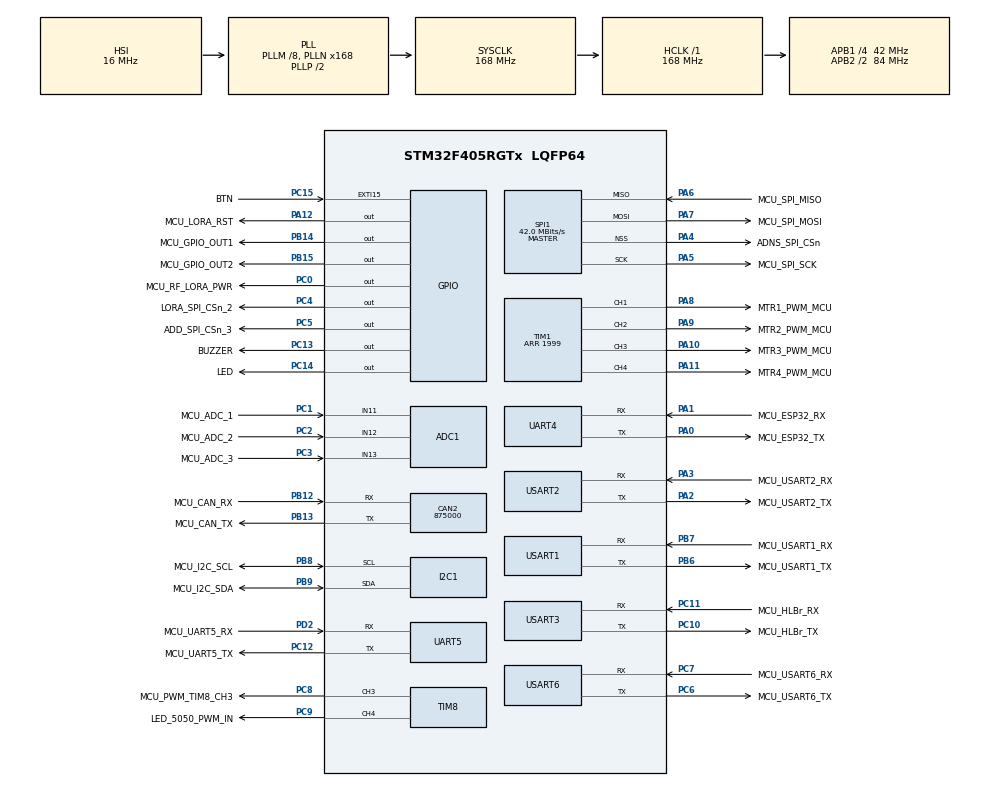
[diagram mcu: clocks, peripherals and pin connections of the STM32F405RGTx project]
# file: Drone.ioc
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ADC1.Channel-0\#ChannelRegularConversion=ADC_CHANNEL_11
ADC1.NbrOfConversionFlag=1
ADC1.Rank-0\#ChannelRegularConversion=1
ADC1.SamplingTime-0\#ChannelRegularConversion=ADC_SAMPLETIME_3CYCLES
ADC1.master=1
CAN2.CalculateBaudRate=875000
CAN2.CalculateTimeBit=1142
CAN2.CalculateTimeQuantum=380.95238095238096
Dma.Request0=UART5_RX
Dma.Request1=UART5_TX
Dma.Request10=USART6_RX
Dma.Request11=USART6_TX
Dma.Request2=USART2_RX
Dma.Request3=USART2_TX
Dma.Request4=USART3_RX
Dma.Request5=USART3_TX
Dma.Request6=UART4_RX
Dma.Request7=UART4_TX
Dma.Request8=USART1_RX
Dma.Request9=USART1_TX
Dma.UART4_RX.6.Direction=DMA_PERIPH_TO_MEMORY
Dma.UART4_RX.6.FIFOMode=DMA_FIFOMODE_DISABLE
Dma.UART4_RX.6.Instance=DMA1_Stream2
Dma.UART4_RX.6.MemDataAlignment=DMA_MDATAALIGN_BYTE
Dma.UART4_RX.6.MemInc=DMA_MINC_ENABLE
Dma.UART4_RX.6.Mode=DMA_NORMAL
Dma.UART4_RX.6.PeriphDataAlignment=DMA_PDATAALIGN_BYTE
Dma.UART4_RX.6.PeriphInc=DMA_PINC_DISABLE
Dma.UART4_RX.6.Priority=DMA_PRIORITY_LOW
Dma.UART4_TX.7.Direction=DMA_MEMORY_TO_PERIPH
Dma.UART4_TX.7.FIFOMode=DMA_FIFOMODE_DISABLE
Dma.UART4_TX.7.Instance=DMA1_Stream4
Dma.UART4_TX.7.MemDataAlignment=DMA_MDATAALIGN_BYTE
Dma.UART4_TX.7.MemInc=DMA_MINC_ENABLE
Dma.UART4_TX.7.Mode=DMA_NORMAL
Dma.UART4_TX.7.PeriphDataAlignment=DMA_PDATAALIGN_BYTE
Dma.UART4_TX.7.PeriphInc=DMA_PINC_DISABLE
Dma.UART4_TX.7.Priority=DMA_PRIORITY_LOW
Dma.UART5_RX.0.Direction=DMA_PERIPH_TO_MEMORY
Dma.UART5_RX.0.FIFOMode=DMA_FIFOMODE_DISABLE
Dma.UART5_RX.0.Instance=DMA1_Stream0
Dma.UART5_RX.0.MemDataAlignment=DMA_MDATAALIGN_BYTE
Dma.UART5_RX.0.MemInc=DMA_MINC_ENABLE
Dma.UART5_RX.0.Mode=DMA_NORMAL
Dma.UART5_RX.0.PeriphDataAlignment=DMA_PDATAALIGN_BYTE
Dma.UART5_RX.0.PeriphInc=DMA_PINC_DISABLE
Dma.UART5_RX.0.Priority=DMA_PRIORITY_LOW
Dma.UART5_TX.1.Direction=DMA_MEMORY_TO_PERIPH
Dma.UART5_TX.1.FIFOMode=DMA_FIFOMODE_DISABLE
Dma.UART5_TX.1.Instance=DMA1_Stream7
Dma.UART5_TX.1.MemDataAlignment=DMA_MDATAALIGN_BYTE
Dma.UART5_TX.1.MemInc=DMA_MINC_ENABLE
Dma.UART5_TX.1.Mode=DMA_NORMAL
Dma.UART5_TX.1.PeriphDataAlignment=DMA_PDATAALIGN_BYTE
Dma.UART5_TX.1.PeriphInc=DMA_PINC_DISABLE
Dma.UART5_TX.1.Priority=DMA_PRIORITY_LOW
Dma.USART1_RX.8.Direction=DMA_PERIPH_TO_MEMORY
Dma.USART1_RX.8.FIFOMode=DMA_FIFOMODE_DISABLE
Dma.USART1_RX.8.Instance=DMA2_Stream2
Dma.USART1_RX.8.MemDataAlignment=DMA_MDATAALIGN_BYTE
Dma.USART1_RX.8.MemInc=DMA_MINC_ENABLE
Dma.USART1_RX.8.Mode=DMA_NORMAL
Dma.USART1_RX.8.PeriphDataAlignment=DMA_PDATAALIGN_BYTE
Dma.USART1_RX.8.PeriphInc=DMA_PINC_DISABLE
Dma.USART1_RX.8.Priority=DMA_PRIORITY_LOW
Dma.USART1_TX.9.Direction=DMA_MEMORY_TO_PERIPH
Dma.USART1_TX.9.FIFOMode=DMA_FIFOMODE_DISABLE
Dma.USART1_TX.9.Instance=DMA2_Stream7
Dma.USART1_TX.9.MemDataAlignment=DMA_MDATAALIGN_BYTE
Dma.USART1_TX.9.MemInc=DMA_MINC_ENABLE
Dma.USART1_TX.9.Mode=DMA_NORMAL
Dma.USART1_TX.9.PeriphDataAlignment=DMA_PDATAALIGN_BYTE
Dma.USART1_TX.9.PeriphInc=DMA_PINC_DISABLE
Dma.USART1_TX.9.Priority=DMA_PRIORITY_LOW
Dma.USART2_RX.2.Direction=DMA_PERIPH_TO_MEMORY
Dma.USART2_RX.2.FIFOMode=DMA_FIFOMODE_DISABLE
Dma.USART2_RX.2.Instance=DMA1_Stream5
Dma.USART2_RX.2.MemDataAlignment=DMA_MDATAALIGN_BYTE
Dma.USART2_RX.2.MemInc=DMA_MINC_ENABLE
Dma.USART2_RX.2.Mode=DMA_NORMAL
Dma.USART2_RX.2.PeriphDataAlignment=DMA_PDATAALIGN_BYTE
Dma.USART2_RX.2.PeriphInc=DMA_PINC_DISABLE
Dma.USART2_RX.2.Priority=DMA_PRIORITY_LOW
Dma.USART2_TX.3.Direction=DMA_MEMORY_TO_PERIPH
Dma.USART2_TX.3.FIFOMode=DMA_FIFOMODE_DISABLE
Dma.USART2_TX.3.Instance=DMA1_Stream6
Dma.USART2_TX.3.MemDataAlignment=DMA_MDATAALIGN_BYTE
Dma.USART2_TX.3.MemInc=DMA_MINC_ENABLE
Dma.USART2_TX.3.Mode=DMA_NORMAL
Dma.USART2_TX.3.PeriphDataAlignment=DMA_PDATAALIGN_BYTE
Dma.USART2_TX.3.PeriphInc=DMA_PINC_DISABLE
Dma.USART2_TX.3.Priority=DMA_PRIORITY_LOW
Dma.USART3_RX.4.Direction=DMA_PERIPH_TO_MEMORY
Dma.USART3_RX.4.FIFOMode=DMA_FIFOMODE_DISABLE
Dma.USART3_RX.4.Instance=DMA1_Stream1
Dma.USART3_RX.4.MemDataAlignment=DMA_MDATAALIGN_BYTE
Dma.USART3_RX.4.MemInc=DMA_MINC_ENABLE
Dma.USART3_RX.4.Mode=DMA_NORMAL
Dma.USART3_RX.4.PeriphDataAlignment=DMA_PDATAALIGN_BYTE
Dma.USART3_RX.4.PeriphInc=DMA_PINC_DISABLE
Dma.USART3_RX.4.Priority=DMA_PRIORITY_LOW
Dma.USART3_TX.5.Direction=DMA_MEMORY_TO_PERIPH
Dma.USART3_TX.5.FIFOMode=DMA_FIFOMODE_DISABLE
Dma.USART3_TX.5.Instance=DMA1_Stream3
Dma.USART3_TX.5.MemDataAlignment=DMA_MDATAALIGN_BYTE
Dma.USART3_TX.5.MemInc=DMA_MINC_ENABLE
Dma.USART3_TX.5.Mode=DMA_NORMAL
Dma.USART3_TX.5.PeriphDataAlignment=DMA_PDATAALIGN_BYTE
Dma.USART3_TX.5.PeriphInc=DMA_PINC_DISABLE
Dma.USART3_TX.5.Priority=DMA_PRIORITY_LOW
Dma.USART6_RX.10.Direction=DMA_PERIPH_TO_MEMORY
Dma.USART6_RX.10.FIFOMode=DMA_FIFOMODE_DISABLE
Dma.USART6_RX.10.Instance=DMA2_Stream1
Dma.USART6_RX.10.MemDataAlignment=DMA_MDATAALIGN_BYTE
Dma.USART6_RX.10.MemInc=DMA_MINC_ENABLE
Dma.USART6_RX.10.Mode=DMA_NORMAL
Dma.USART6_RX.10.PeriphDataAlignment=DMA_PDATAALIGN_BYTE
Dma.USART6_RX.10.PeriphInc=DMA_PINC_DISABLE
Dma.USART6_RX.10.Priority=DMA_PRIORITY_LOW
Dma.USART6_TX.11.Direction=DMA_MEMORY_TO_PERIPH
Dma.USART6_TX.11.FIFOMode=DMA_FIFOMODE_DISABLE
Dma.USART6_TX.11.Instance=DMA2_Stream6
Dma.USART6_TX.11.MemDataAlignment=DMA_MDATAALIGN_BYTE
Dma.USART6_TX.11.MemInc=DMA_MINC_ENABLE
Dma.USART6_TX.11.Mode=DMA_NORMAL
Dma.USART6_TX.11.PeriphDataAlignment=DMA_PDATAALIGN_BYTE
Dma.USART6_TX.11.PeriphInc=DMA_PINC_DISABLE
Dma.USART6_TX.11.Priority=DMA_PRIORITY_LOW
I2C1.I2C_Mode=I2C_Fast
Mcu.Family=STM32F4
Mcu.Name=STM32F405RGTx
Mcu.Package=LQFP64
NVIC.DMA1_Stream0_IRQn=true\:0\:0\:false\:false\:true\:false\:true\:true
NVIC.DMA1_Stream1_IRQn=true\:0\:0\:false\:false\:true\:false\:true\:true
NVIC.DMA1_Stream2_IRQn=true\:0\:0\:false\:false\:true\:false\:true\:true
NVIC.DMA1_Stream3_IRQn=true\:0\:0\:false\:false\:true\:false\:true\:true
NVIC.DMA1_Stream4_IRQn=true\:0\:0\:false\:false\:true\:false\:true\:true
NVIC.DMA1_Stream5_IRQn=true\:0\:0\:false\:false\:true\:false\:true\:true
NVIC.DMA1_Stream6_IRQn=true\:0\:0\:false\:false\:true\:false\:true\:true
NVIC.DMA1_Stream7_IRQn=true\:0\:0\:false\:false\:true\:false\:true\:true
NVIC.DMA2_Stream1_IRQn=true\:0\:0\:false\:false\:true\:false\:true\:true
NVIC.DMA2_Stream2_IRQn=true\:0\:0\:false\:false\:true\:false\:true\:true
NVIC.DMA2_Stream6_IRQn=true\:0\:0\:false\:false\:true\:false\:true\:true
NVIC.DMA2_Stream7_IRQn=true\:0\:0\:false\:false\:true\:false\:true\:true
NVIC.PriorityGroup=NVIC_PRIORITYGROUP_4
NVIC.UART5_IRQn=true\:0\:0\:false\:false\:true\:true\:true\:true
NVIC.USART1_IRQn=true\:0\:0\:false\:false\:true\:true\:true\:true
NVIC.USART3_IRQn=true\:0\:0\:false\:false\:true\:true\:true\:true
PA0-WKUP.GPIO_Label=MCU_ESP32_TX
PA0-WKUP.Mode=Asynchronous
PA0-WKUP.Signal=UART4_TX
PA1.GPIO_Label=MCU_ESP32_RX
PA1.Mode=Asynchronous
PA1.Signal=UART4_RX
PA10.GPIO_Label=MTR3_PWM_MCU
PA10.Signal=S_TIM1_CH3
PA11.GPIO_Label=MTR4_PWM_MCU
PA11.Signal=S_TIM1_CH4
PA12.GPIO_Label=MCU_LORA_RST
PA12.Signal=GPIO_Output
PA13.Mode=Serial_Wire
PA13.Signal=SYS_JTMS-SWDIO
PA14.Mode=Serial_Wire
PA14.Signal=SYS_JTCK-SWCLK
PA15.GPIO_Label=MCU_CIA_MTR1
PA15.Signal=S_TIM2_CH1_ETR
PA2.GPIO_Label=MCU_USART2_TX
PA2.Mode=Asynchronous
PA2.Signal=USART2_TX
PA3.GPIO_Label=MCU_USART2_RX
PA3.Mode=Asynchronous
PA3.Signal=USART2_RX
PA4.GPIO_Label=ADNS_SPI_CSn
PA4.Mode=NSS_Signal_Hard_Output
PA4.Signal=SPI1_NSS
PA5.GPIO_Label=MCU_SPI_SCK
PA5.Mode=Full_Duplex_Master
PA5.Signal=SPI1_SCK
PA6.GPIO_Label=MCU_SPI_MISO
PA6.Mode=Full_Duplex_Master
PA6.Signal=SPI1_MISO
PA7.GPIO_Label=MCU_SPI_MOSI
PA7.Mode=Full_Duplex_Master
PA7.Signal=SPI1_MOSI
PA8.GPIO_Label=MTR1_PWM_MCU
PA8.Signal=S_TIM1_CH1
PA9.GPIO_Label=MTR2_PWM_MCU
PA9.Signal=S_TIM1_CH2
PB12.GPIO_Label=MCU_CAN_RX
PB12.Mode=CAN_Activate
PB12.Signal=CAN2_RX
PB13.GPIO_Label=MCU_CAN_TX
PB13.Mode=CAN_Activate
PB13.Signal=CAN2_TX
PB14.GPIO_Label=MCU_GPIO_OUT1
PB14.Signal=GPIO_Output
PB15.GPIO_Label=MCU_GPIO_OUT2
PB15.Signal=GPIO_Output
PB3.GPIO_Label=MCU_CIA_MTR2
PB3.Signal=S_TIM2_CH2
PB6.GPIO_Label=MCU_USART1_TX
PB6.Mode=Asynchronous
PB6.Signal=USART1_TX
PB7.GPIO_Label=MCU_USART1_RX
PB7.Mode=Asynchronous
PB7.Signal=USART1_RX
PB8.GPIO_Label=MCU_I2C_SCL
PB8.Mode=I2C
PB8.Signal=I2C1_SCL
PB9.GPIO_Label=MCU_I2C_SDA
PB9.Mode=I2C
PB9.Signal=I2C1_SDA
PC0.GPIO_Label=MCU_RF_LORA_PWR
PC0.Signal=GPIO_Output
PC1.GPIO_Label=MCU_ADC_1
PC1.Signal=ADCx_IN11
PC10.GPIO_Label=MCU_HLBr_TX
PC10.Mode=Asynchronous
PC10.Signal=USART3_TX
PC11.GPIO_Label=MCU_HLBr_RX
PC11.Mode=Asynchronous
PC11.Signal=USART3_RX
PC12.GPIO_Label=MCU_UART5_TX
PC12.Mode=Asynchronous
PC12.Signal=UART5_TX
PC13-ANTI_TAMP.GPIO_Label=BUZZER
PC13-ANTI_TAMP.Signal=GPIO_Output
PC14-OSC32_IN.GPIO_Label=LED
PC14-OSC32_IN.Signal=GPIO_Output
PC15-OSC32_OUT.GPIO_Label=BTN
PC15-OSC32_OUT.Signal=GPXTI15
PC2.GPIO_Label=MCU_ADC_2
PC2.Signal=ADCx_IN12
PC3.GPIO_Label=MCU_ADC_3
PC3.Signal=ADCx_IN13
PC4.GPIO_Label=LORA_SPI_CSn_2
PC4.Signal=GPIO_Output
PC5.GPIO_Label=ADD_SPI_CSn_3
PC5.Signal=GPIO_Output
PC6.GPIO_Label=MCU_USART6_TX
PC6.Mode=Asynchronous
PC6.Signal=USART6_TX
PC7.GPIO_Label=MCU_USART6_RX
PC7.Mode=Asynchronous
PC7.Signal=USART6_RX
PC8.GPIO_Label=MCU_PWM_TIM8_CH3
PC8.Signal=S_TIM8_CH3
PC9.GPIO_Label=LED_5050_PWM_IN
PC9.Signal=S_TIM8_CH4
PD2.GPIO_Label=MCU_UART5_RX
PD2.Mode=Asynchronous
PD2.Signal=UART5_RX
ProjectManager.HeapSize=0x200
ProjectManager.StackSize=0x400
ProjectManager.TargetToolchain=STM32CubeIDE
RCC.48MHZClocksFreq_Value=84000000
RCC.AHBFreq_Value=168000000
RCC.APB1CLKDivider=RCC_HCLK_DIV4
RCC.APB1Freq_Value=42000000
RCC.APB1TimFreq_Value=84000000
RCC.APB2CLKDivider=RCC_HCLK_DIV2
RCC.APB2Freq_Value=84000000
RCC.APB2TimFreq_Value=168000000
RCC.CortexFreq_Value=168000000
RCC.HCLKFreq_Value=168000000
RCC.HSE_VALUE=25000000
RCC.HSI_VALUE=16000000
RCC.LSE_VALUE=32768
RCC.PLLM=8
RCC.PLLN=168
RCC.SYSCLKFreq_VALUE=168000000
RCC.SYSCLKSource=RCC_SYSCLKSOURCE_PLLCLK
RCC.VCOOutputFreq_Value=336000000
SH.ADCx_IN11.0=ADC1_IN11,IN11
SH.ADCx_IN12.0=ADC1_IN12,IN12
SH.ADCx_IN13.0=ADC1_IN13,IN13
SH.S_TIM1_CH1.0=TIM1_CH1,PWM Generation1 CH1
SH.S_TIM1_CH2.0=TIM1_CH2,PWM Generation2 CH2
SH.S_TIM1_CH3.0=TIM1_CH3,PWM Generation3 CH3
SH.S_TIM1_CH4.0=TIM1_CH4,PWM Generation4 CH4
SH.S_TIM2_CH1_ETR.0=TIM2_CH1
SH.S_TIM2_CH2.0=TIM2_CH2
SH.S_TIM8_CH3.0=TIM8_CH3,PWM Generation3 CH3
SH.S_TIM8_CH4.0=TIM8_CH4,PWM Generation4 CH4
SPI1.CalculateBaudRate=42.0 MBits/s
SPI1.Direction=SPI_DIRECTION_2LINES
SPI1.Mode=SPI_MODE_MASTER
SPI1.VirtualNSS=VM_NSSHARD
SPI1.VirtualType=VM_MASTER
TIM1.Channel-PWM\ Generation1\ CH1=TIM_CHANNEL_1
TIM1.Channel-PWM\ Generation2\ CH2=TIM_CHANNEL_2
TIM1.Channel-PWM\ Generation3\ CH3=TIM_CHANNEL_3
TIM1.Channel-PWM\ Generation4\ CH4=TIM_CHANNEL_4
TIM1.Period=1999
TIM5.Period=0xffffff
TIM5.Prescaler=84-1
TIM8.Channel-PWM\ Generation3\ CH3=TIM_CHANNEL_3
TIM8.Channel-PWM\ Generation4\ CH4=TIM_CHANNEL_4
UART4.VirtualMode=Asynchronous
UART5.VirtualMode=Asynchronous
USART1.VirtualMode=VM_ASYNC
USART2.VirtualMode=VM_ASYNC
USART3.VirtualMode=VM_ASYNC
USART6.VirtualMode=VM_ASYNC
VP_TIM1_VS_ClockSourceINT.Mode=Internal
VP_TIM3_VS_ClockSourceINT.Mode=Internal
VP_TIM5_VS_ClockSourceINT.Mode=Internal
VP_TIM8_VS_ClockSourceINT.Mode=Internal
board=custom

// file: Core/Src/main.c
/* USER CODE BEGIN Header */
/**
  ******************************************************************************
  * @file           : main.c
  * @brief          : Main program body
  ******************************************************************************
  * @attention
  *
  * Copyright (c) 2023 STMicroelectronics.
  * All rights reserved.
  *
  * This software is licensed under terms that can be found in the LICENSE file
  * in the root directory of this software component.
  * If no LICENSE file comes with this software, it is provided AS-IS.
  *
  ******************************************************************************
  */
/* USER CODE END Header */
#include "main.h"
#include "adc.h"
#include "can.h"
#include "dma.h"
#include "i2c.h"
#include "spi.h"
#include "tim.h"
#include "usart.h"
#include "gpio.h"
#include "user_define.h"
#include "lcd.h"
/* USER CODE BEGIN Includes */
uint8_t tmp, i,j,member;
char calib[4];
float temp,roll,pitch,yaw;
/* USER CODE END Includes */

void SystemClock_Config(void);

int main(void)
{

  /* MCU Configuration--------------------------------------------------------*/

  /* Reset of all peripherals, Initializes the Flash interface and the Systick. */
  HAL_Init();

  /* Configure the system clock */
  SystemClock_Config();

  /* Initialize all configured peripherals */
  MX_GPIO_Init();
  MX_DMA_Init();
  MX_ADC1_Init();
  MX_CAN2_Init();
  MX_I2C1_Init();
  MX_SPI1_Init();
  MX_TIM1_Init();
  MX_TIM3_Init();
  MX_TIM5_Init();
  MX_TIM8_Init();
  MX_UART4_Init();
  MX_UART5_Init();
  MX_USART1_UART_Init();
  MX_USART2_UART_Init();
  MX_USART3_UART_Init();
  MX_USART6_UART_Init();
  HAL_TIM_Base_Start(&TIM_DELAY_US);
  /* USER CODE BEGIN 2 */
  SSD1306_Init (); // initialize the display

  SSD1306_GotoXY (10,10); // goto 10, 10
  SSD1306_Puts ("HELLO", &Font_16x26, 1); // print Hello
  SSD1306_GotoXY (10, 38);
  SSD1306_Puts ("WORLD!!", &Font_7x10, 1);
  SSD1306_UpdateScreen(); // update screen
  delay_ms(1000);
  SSD1306_Clear();

  SSD1306_DrawBitmap(0, 0,drone_logo,128, 64, 1);
  SSD1306_UpdateScreen();
  delay_ms(2000);

  /* Infinite loop */
  bno055_initization();
    	delay_ms(1000);
    	SSD1306_Clear();
    	char snum_roll[10];
    	char snum_pitch[10];
    	char snum_yaw[10];

    	char snum_sys[10];
    	char snum_gyro[10];
    	char snum_acc[10];
    	char snum_mag[10];

  /* USER CODE END 2 */

  /* Infinite loop */
  /* USER CODE BEGIN WHILE */
  while (1)
  {
	  bno055_calibrations_status(&calib[0],&calib[1],&calib[2],&calib[3]);
	  bno055_get_elu_data(&roll, &pitch, &yaw);
	  pitch += 2;
	  SSD1306_GotoXY (0, 0);
	  SSD1306_Puts ("ROLL: ", &Font_11x18, 1);
	  SSD1306_GotoXY (0, 20);
	  SSD1306_Puts ("PITCH: ", &Font_11x18, 1);
	  SSD1306_GotoXY (0, 40);
	  SSD1306_Puts ("YAW: ", &Font_11x18, 1);
	  	  	  	//sprintf(snum,"%f",roll);
		itoa(roll, snum_roll, 10);
		itoa(pitch, snum_pitch, 10);
		itoa(yaw, snum_yaw, 10);
		itoa(calib[0], snum_sys, 10);
		itoa(calib[1], snum_gyro, 10);
		itoa(calib[2], snum_acc, 10);
		itoa(calib[3], snum_mag, 10);

	  //			SSD1306_GotoXY (0, 0);
	  //			SSD1306_Puts ("             ", &Font_11x18, 1);
	  			SSD1306_UpdateScreen();
	  			if(roll < 10) {
	  				SSD1306_GotoXY (69, 0);  // 1 DIGIT
	  			}
	  			else if (roll < 100 ) {
	  				SSD1306_GotoXY (61, 0);  // 2 DIGITS
	  			}
	  			else if (roll < 1000 ) {
	  				SSD1306_GotoXY (53, 0);  // 3 DIGITS
	  			}
	  			else {
	  				SSD1306_GotoXY (45, 0);  // 4 DIGIS
	  			}

	  			SSD1306_Puts (snum_roll, &Font_11x18, 1);
	  			SSD1306_UpdateScreen();

	  			if(pitch < 10) {
	  				SSD1306_GotoXY (69, 20);  // 1 DIGIT
	  			}
	  			else if (pitch < 100 ) {
	  				SSD1306_GotoXY (61, 20);  // 2 DIGITS
	  			}
	  			else if (pitch < 1000 ) {
	  				SSD1306_GotoXY (53, 20);  // 3 DIGITS
	  			}
	  			else {
	  				SSD1306_GotoXY (45, 20);  // 4 DIGIS
	  			}

	  			SSD1306_Puts (snum_pitch, &Font_11x18, 1);
	  			SSD1306_UpdateScreen();

	  			if(yaw < 10) {
	  				SSD1306_GotoXY (69, 40);  // 1 DIGIT
	  			}
	  			else if (yaw < 100 ) {
	  				SSD1306_GotoXY (61, 40);  // 2 DIGITS
	  			}
	  			else if (yaw < 1000 ) {
	  				SSD1306_GotoXY (53, 40);  // 3 DIGITS
	  			}
	  			else {
	  				SSD1306_GotoXY (45, 40);  // 4 DIGIS
	  			}

	  			SSD1306_Puts (snum_yaw, &Font_11x18, 1);

	  			SSD1306_GotoXY (100, 0);
	  			SSD1306_Puts (snum_sys, &Font_7x10, 1);

	  			SSD1306_GotoXY (100, 15);
	  			SSD1306_Puts (snum_gyro, &Font_7x10, 1);

	  			SSD1306_GotoXY (100, 30);
	  			SSD1306_Puts (snum_acc, &Font_7x10, 1);

	  			SSD1306_GotoXY (100, 45);
	  			SSD1306_Puts (snum_mag, &Font_7x10, 1);

	  			SSD1306_UpdateScreen();
	  			SSD1306_Clear();
	  			delay_us(10);
    /* USER CODE END WHILE */
  }
}

void SystemClock_Config(void)
{
  RCC_OscInitTypeDef RCC_OscInitStruct = {0};
  RCC_ClkInitTypeDef RCC_ClkInitStruct = {0};

  /** Configure the main internal regulator output voltage
  */
  __HAL_RCC_PWR_CLK_ENABLE();
  __HAL_PWR_VOLTAGESCALING_CONFIG(PWR_REGULATOR_VOLTAGE_SCALE1);

  /** Initializes the RCC Oscillators according to the specified parameters
  * in the RCC_OscInitTypeDef structure.
  */
  RCC_OscInitStruct.OscillatorType = RCC_OSCILLATORTYPE_HSI;
  RCC_OscInitStruct.HSIState = RCC_HSI_ON;
  RCC_OscInitStruct.HSICalibrationValue = RCC_HSICALIBRATION_DEFAULT;
  RCC_OscInitStruct.PLL.PLLState = RCC_PLL_ON;
  RCC_OscInitStruct.PLL.PLLSource = RCC_PLLSOURCE_HSI;
  RCC_OscInitStruct.PLL.PLLM = 8;
  RCC_OscInitStruct.PLL.PLLN = 168;
  RCC_OscInitStruct.PLL.PLLP = RCC_PLLP_DIV2;
  RCC_OscInitStruct.PLL.PLLQ = 4;
  if (HAL_RCC_OscConfig(&RCC_OscInitStruct) != HAL_OK)
  {
    Error_Handler();
  }

  /** Initializes the CPU, AHB and APB buses clocks
  */
  RCC_ClkInitStruct.ClockType = RCC_CLOCKTYPE_HCLK|RCC_CLOCKTYPE_SYSCLK
                              |RCC_CLOCKTYPE_PCLK1|RCC_CLOCKTYPE_PCLK2;
  RCC_ClkInitStruct.SYSCLKSource = RCC_SYSCLKSOURCE_PLLCLK;
  RCC_ClkInitStruct.AHBCLKDivider = RCC_SYSCLK_DIV1;
  RCC_ClkInitStruct.APB1CLKDivider = RCC_HCLK_DIV4;
  RCC_ClkInitStruct.APB2CLKDivider = RCC_HCLK_DIV2;

  if (HAL_RCC_ClockConfig(&RCC_ClkInitStruct, FLASH_LATENCY_5) != HAL_OK)
  {
    Error_Handler();
  }
}

void Error_Handler(void)
{
  __disable_irq();
  while (1)
  {
  }
}
